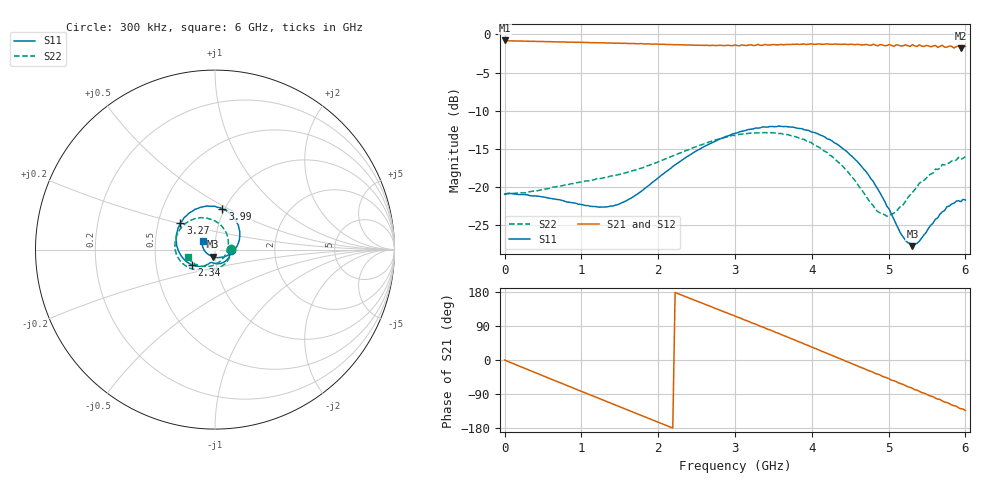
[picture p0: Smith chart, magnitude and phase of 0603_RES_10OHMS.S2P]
!Agilent Technologies,E5071C,MY46106283,A.09.10
!Date: Tue Jan 23 23:31:52 2001
!Data & Calibration Information:
!Freq	S11:SOLT2(ON)	S41:SOLT2(ON)	S14:SOLT2(ON)	S44:SOLT2(ON)
# Hz S dB R 50
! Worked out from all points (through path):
!   201 points, 300 kHz to 6 GHz, reference 50 ohm
!   highest |S21| = -0.79 dB at 300 kHz (marker M1); lowest = -1.8 dB at 5.94 GHz (marker M2)
!   group delay of S21, straight-line fit = 227 ps
!   lowest |S11| = -27.8 dB at 5.31 GHz (marker M3), VSWR 1.09, Z = 48.6 - j3.78 ohm
!   |S11| at or under -10 dB: start of sweep to end of sweep
!   |S22| runs from -23.9 to -12.9 dB; largest |S21 - S12| = 0.025
!   S11 on the Smith chart (normalised r, x): 300 kHz: 1.20, -0.00; 2.34 GHz: 0.76, -0.13; 3.27 GHz: 0.65, +0.21; 3.99 GHz: 0.98, +0.47; 6 GHz: 0.87, +0.08
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300000  -20.94 -0.8  -0.79 -0.2  -0.83 -0.1  -21.04 2.1
3.00285e8  -21.05 -33.2  -0.88 -25.2  -0.88 -25.2  -20.69 -33.3
6.0027e8  -21.52 -63.2  -0.95 -50.0  -0.95 -50.0  -20.15 -61.8
1.020249e9  -22.36 -94.4  -1.06 -84.3  -1.07 -84.4  -19.30 -91.7
1.470226e9  -22.34 -109.3  -1.14 -121.0  -1.14 -120.9  -18.42 -112.2
1.770212e9  -20.64 -116.4  -1.20 -145.4  -1.22 -145.4  -17.56 -122.2
2.0102e9  -18.74 -126.4  -1.30 -165.0  -1.31 -165.0  -16.68 -129.8
2.340183e9  -16.30 -146.1  -1.37 168.5  -1.39 168.5  -15.32 -142.3
2.700165e9  -14.19 -172.0  -1.43 139.9  -1.47 139.9  -14.00 -159.3
3.00015e9  -12.98 164.4  -1.38 116.0  -1.45 116.1  -13.26 -175.3
3.270136e9  -12.27 142.4  -1.42 94.7  -1.54 94.5  -12.92 167.5
3.60012e9  -12.06 114.1  -1.30 67.2  -1.39 67.7  -12.99 145.2
3.9901e9  -12.78 79.7  -1.23 34.9  -1.30 35.9  -14.17 114.4
4.020099e9  -12.85 77.2  -1.29 32.2  -1.32 33.0  -14.41 111.5
4.290086e9  -14.19 52.2  -1.27 10.0  -1.27 10.7  -16.24 86.5
4.500075e9  -15.80 31.9  -1.29 -7.5  -1.26 -7.1  -18.40 62.3
4.830058e9  -19.84 -4.8  -1.41 -35.9  -1.36 -35.7  -22.97 5.4
5.01005e9  -22.94 -30.9  -1.31 -49.9  -1.36 -49.8  -23.68 -39.6
5.310034e9  -27.78 -108.0  -1.34 -74.6  -1.52 -74.7  -20.73 -100.2
5.61002e9  -24.23 -177.6  -1.44 -100.8  -1.52 -100.3  -17.67 -136.3
5.940003e9  -21.94 149.3  -1.82 -128.6  -1.88 -128.1  -16.37 -161.2
6e9  -21.73 145.2  -1.58 -133.3  -1.77 -132.1  -16.04 -165.2
